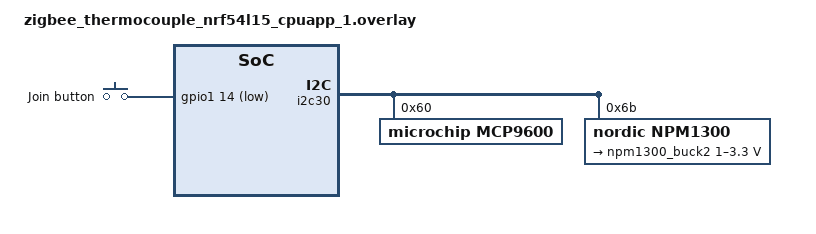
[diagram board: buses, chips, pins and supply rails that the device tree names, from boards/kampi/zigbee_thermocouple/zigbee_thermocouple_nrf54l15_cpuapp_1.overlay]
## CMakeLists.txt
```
cmake_minimum_required(VERSION 3.20.0)

# Add the app directory as BOARD_ROOT so that boards/kampi/zigbee_thermocouple is found.
list(APPEND BOARD_ROOT ${CMAKE_CURRENT_SOURCE_DIR})
list(REMOVE_DUPLICATES BOARD_ROOT)

find_package(Zephyr REQUIRED HINTS $ENV{ZEPHYR_BASE})

project(thermocouple)

target_sources(app PRIVATE
    src/main.c
    src/zboss_mem_globals.c
)

# The ZBOSS memory configuration must not be compiled with LTO
if(CONFIG_LTO)
    set_source_files_properties(
        src/zboss_mem_globals.c
        PROPERTIES COMPILE_OPTIONS -fno-lto
    )
endif()
```

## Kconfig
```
menu "Zigbee-Thermocouple"

config THERMOCOUPLE_MEASUREMENT_INTERVAL_S
    int "Measurement interval in seconds"
    range 10 4200
    default 3600
    help
        Interval for the measurement of the thermocouple temperature.
        The MCP9600 is in shutdown mode between the measurements, so a longer interval
        saves power. The maximum is limited by the ZBOSS alarm (overflow after approx. 71 minutes).

config THERMOCOUPLE_BATTERY_INTERVAL_S
    int "Battery measurement interval in seconds"
    range 60 604800
    default 86400
    help
        Interval for the measurement of the battery voltage. The battery is measured
        together with the temperature, so the effective interval is a multiple of
        THERMOCOUPLE_MEASUREMENT_INTERVAL_S. Default is once per day.

endmenu

source "Kconfig.zephyr"
```

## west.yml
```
manifest:
    self:
        west-commands: scripts/west-commands.yml

    remotes:
        - name: ncs
          url-base: https://github.com/nrfconnect

    projects:
        # Zigbee R23 add-on. Each release is tied to one NCS release, so keep
        # both revisions in sync (see west.yml in the ncs-zigbee repository).
        - name: ncs-zigbee
          remote: ncs
          revision: v1.4.0

        - name: nrf
          remote: ncs
          repo-path: sdk-nrf
          revision: v3.4.0
          import:
              name-blocklist:
                  - azure-sdk-for-c
                  - canopennode
                  - chre
                  - cirrus
                  - dhara
                  - edtt
                  - fatfs
                  - hal_st
                  - hal_tdk
                  - hal_wurthelektronik
                  - hostap
                  - liblc3
                  - libsbc
                  - loramac-node
                  - lvgl
                  - matter
                  - memfault-firmware-sdk
                  - net-tools
                  - nrf_wifi
                  - openthread
                  - percepio
                  - psa-arch-tests
                  - tf-m-tests
                  - uoscore-uedhoc
                  - wfa-qt-control-app
                  - zscilib
```

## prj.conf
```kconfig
CONFIG_HEAP_MEM_POOL_SIZE=2048
CONFIG_SYSTEM_WORKQUEUE_STACK_SIZE=4096

# Enable DK LED and Buttons library (used by Zigbee utils)
CONFIG_DK_LIBRARY=y

# Networking
CONFIG_NET_IPV6=n
CONFIG_NET_IP_ADDR_CHECK=n
CONFIG_NET_UDP=n

# Configure Zigbee
CONFIG_ZIGBEE_ADD_ON=y
CONFIG_ZIGBEE_APP_UTILS=y
CONFIG_ZIGBEE_ROLE_END_DEVICE=y
# Channel 11 and 16, same as the channel mask in zigbee_config.yml
CONFIG_ZIGBEE_CHANNEL_SELECTION_MODE_MULTI=y
CONFIG_ZIGBEE_CHANNEL_MASK=0x10800

# Enable API for powering down unused RAM parts
CONFIG_RAM_POWER_DOWN_LIBRARY=y
```

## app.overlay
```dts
/*
 * Copyright (c) 2026 Daniel Kampert
 *
 * SPDX-License-Identifier: Apache-2.0
 */

/* Partition layout for Zigbee (ZBOSS NVRAM and production config) */
#include <nrf54l15_cpuapp_partitions.dtsi>
```

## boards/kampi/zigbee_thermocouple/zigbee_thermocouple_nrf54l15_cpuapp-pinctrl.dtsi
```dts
/*
 * Copyright (c) 2026 Daniel Kampert
 *
 * SPDX-License-Identifier: Apache-2.0
 */

&pinctrl {
    i2c30_default: i2c30_default {
        group1 {
            psels = <NRF_PSEL(TWIM_SDA, 0, 4)>,
                    <NRF_PSEL(TWIM_SCL, 0, 3)>;
        };
    };

    i2c30_sleep: i2c30_sleep {
        group1 {
            psels = <NRF_PSEL(TWIM_SDA, 0, 4)>,
                    <NRF_PSEL(TWIM_SCL, 0, 3)>;
            low-power-enable;
        };
    };
};
```

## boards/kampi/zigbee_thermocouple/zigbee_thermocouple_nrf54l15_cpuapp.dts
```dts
/*
 * Copyright (c) 2026 Daniel Kampert
 *
 * SPDX-License-Identifier: Apache-2.0
 */

/dts-v1/;

#include <nordic/nrf54l15_cpuapp.dtsi>
#include "zigbee_thermocouple_nrf54l15_cpuapp-pinctrl.dtsi"

/ {
    model = "Zigbee-Thermocouple nRF54L15 Application";
    compatible = "kampi,zigbee-thermocouple-nrf54l15-cpuapp";

    chosen {
        zephyr,flash-controller = &rram_controller;
        zephyr,flash = &cpuapp_rram;
        zephyr,code-partition = &slot0_partition;
        zephyr,sram = &cpuapp_sram;
        zephyr,ieee802154 = &ieee802154;
        ncs,zigbee-timer = &timer20;
    };

    aliases {
        watchdog0 = &wdt31;
    };
};

/* The FLPR core is not used, so the application core gets the full RRAM and SRAM */
&cpuapp_rram {
    reg = <0x0 DT_SIZE_K(1524)>;
};

&cpuapp_sram {
    status = "okay";
    reg = <0x20000000 DT_SIZE_K(256)>;
    ranges = <0x0 0x20000000 0x40000>;
};

/* 32 MHz crystal of the BM15C module */
&hfxo {
    load-capacitors = "internal";
    load-capacitance-femtofarad = <15000>;
};

&regulators {
    status = "okay";
};

/* The inductors for the DC/DC converter are part of the BM15C module */
&vregmain {
    status = "okay";
    regulator-initial-mode = <NRF5X_REG_MODE_DCDC>;
};

&grtc {
    owned-channels = <0 1 2 3 4 5 6 7 8 9 10 11>;
    /* Channels 7-11 reserved for Zero Latency IRQs, 3-4 for FLPR */
    child-owned-channels = <3 4 7 8 9 10 11>;
    status = "okay";
};

&gpio0 {
    status = "okay";
};

&gpio1 {
    status = "okay";
};

&gpio2 {
    status = "okay";
};

&gpiote20 {
    status = "okay";
};

&gpiote30 {
    status = "okay";
};

&radio {
    status = "okay";
};

&ieee802154 {
    status = "okay";
};

&temp {
    status = "okay";
};

&clock {
    status = "okay";
};

&timer20 {
    status = "okay";
};

/* P0 belongs to the low power domain, so only the serial instance 30 can be used here */
&i2c30 {
    status = "disabled";
    /* The MCP9600 supports a maximum of 100 kHz */
    clock-frequency = <I2C_BITRATE_STANDARD>;
    pinctrl-0 = <&i2c30_default>;
    pinctrl-1 = <&i2c30_sleep>;
    pinctrl-names = "default", "sleep";
};

/* Include default memory partition configuration file */
#include <vendor/nordic/nrf54l15_cpuapp_partition.dtsi>
```

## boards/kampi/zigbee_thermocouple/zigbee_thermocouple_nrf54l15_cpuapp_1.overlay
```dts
/*
 * Copyright (c) 2026 Daniel Kampert
 *
 * SPDX-License-Identifier: Apache-2.0
 */

#include <zephyr/dt-bindings/input/input-event-codes.h>
#include <zephyr/dt-bindings/regulator/npm13xx.h>
#include <zephyr/dt-bindings/sensor/mcp9600.h>

/ {
    buttons {
        compatible = "gpio-keys";

        button0: button_0 {
            gpios = <&gpio1 14 (GPIO_PULL_UP | GPIO_ACTIVE_LOW)>;
            label = "Join button";
            zephyr,code = <INPUT_KEY_0>;
        };
    };

    aliases {
        sw0 = &button0;
        mcuboot-button0 = &button0;
    };
};

&i2c30 {
    status = "okay";

    /* ALERT-1 is connected to P1.04 (active low, external pull-up). Not used by the driver. */
    mcp9600: mcp9600@60 {
        compatible = "microchip,mcp9600";
        reg = <0x60>;
        thermocouple-type = <MCP9600_DT_TYPE_K>;
        adc-resolution = <MCP9600_DT_ADC_RES_18BIT>;
        filter-coefficient = <0>;
        cold-junction-temp-resolution = <MCP9600_DT_COLD_JUNC_TMP_RES_0_0625C>;
    };

    /*
     * GPIO4 (PMIC-INT) is connected to P2.00. Port 2 has no GPIOTE, so this pin
     * can not be used as "host-int-gpios".
     */
    npm1300: pmic@6b {
        compatible = "nordic,npm1300";
        reg = <0x6b>;

        npm1300_regulators: regulators {
            compatible = "nordic,npm1300-regulator";

            /* +3V0 system supply. The voltage is selected by the resistor on VSET2. */
            npm1300_buck2: BUCK2 {
                regulator-min-microvolt = <1000000>;
                regulator-max-microvolt = <3300000>;
                regulator-always-on;
                regulator-boot-on;
            };
        };

        npm1300_charger: charger {
            compatible = "nordic,npm1300-charger";
            term-microvolt = <4200000>;
            term-warm-microvolt = <4000000>;
            current-microamp = <150000>;
            dischg-limit-microamp = <1000000>;
            vbus-limit-microamp = <500000>;
            /* No NTC connected */
            thermistor-ohms = <0>;
            thermistor-beta = <3380>;
            charging-enable;
        };

        /* RGB status LED: LED0 = blue, LED1 = green, LED2 = red */
        npm1300_leds: leds {
            compatible = "nordic,npm1300-led";
            nordic,led0-mode = "host";
            nordic,led1-mode = "charging";
            nordic,led2-mode = "error";
        };
    };
};
```

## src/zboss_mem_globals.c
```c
/*
 * Holds the configurable RAM globals of ZBOSS in a dedicated translation unit.
 *
 * The prebuilt ZBOSS library contains weak defaults for these globals. When they
 * are defined in a file which is compiled with LTO, the linker reports
 * "size of symbol ... changed" warnings. Therefore this file is compiled with
 * -fno-lto (see CMakeLists.txt), like in the samples of the Zigbee add-on.
 */

#include <zboss_api.h>
#include <zb_mem_config_med.h>
```
